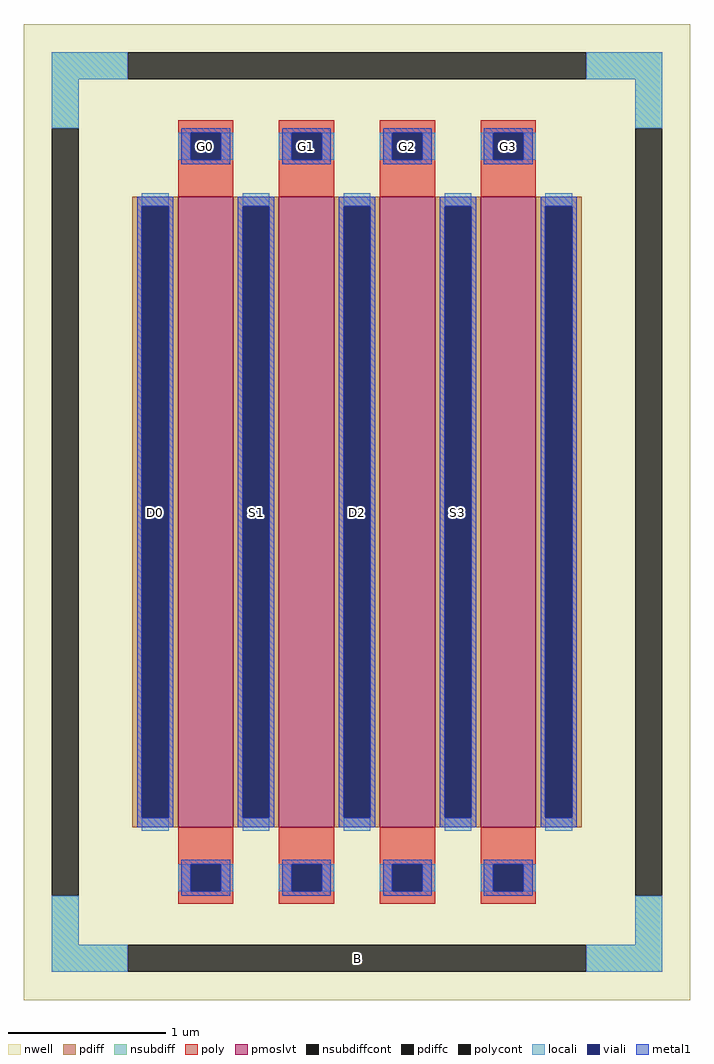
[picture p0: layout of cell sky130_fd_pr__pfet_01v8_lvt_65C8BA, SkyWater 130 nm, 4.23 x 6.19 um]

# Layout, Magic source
magic
tech sky130A
magscale 1 2
<< nwell >>
rect -423 -619 423 619
<< pmoslvt >>
rect -227 -400 -157 400
rect -99 -400 -29 400
rect 29 -400 99 400
rect 157 -400 227 400
<< pdiff >>
rect -285 388 -227 400
rect -285 -388 -273 388
rect -239 -388 -227 388
rect -285 -400 -227 -388
rect -157 388 -99 400
rect -157 -388 -145 388
rect -111 -388 -99 388
rect -157 -400 -99 -388
rect -29 388 29 400
rect -29 -388 -17 388
rect 17 -388 29 388
rect -29 -400 29 -388
rect 99 388 157 400
rect 99 -388 111 388
rect 145 -388 157 388
rect 99 -400 157 -388
rect 227 388 285 400
rect 227 -388 239 388
rect 273 -388 285 388
rect 227 -400 285 -388
<< pdiffc >>
rect -273 -388 -239 388
rect -145 -388 -111 388
rect -17 -388 17 388
rect 111 -388 145 388
rect 239 -388 273 388
<< nsubdiff >>
rect -387 549 -291 583
rect 291 549 387 583
rect -387 487 -353 549
rect 353 487 387 549
rect -387 -549 -353 -487
rect 353 -549 387 -487
rect -387 -583 -291 -549
rect 291 -583 387 -549
<< nsubdiffcont >>
rect -291 549 291 583
rect -387 -487 -353 487
rect 353 -487 387 487
rect -291 -583 291 -549
<< poly >>
rect -227 481 -157 497
rect -227 447 -211 481
rect -173 447 -157 481
rect -227 400 -157 447
rect -99 481 -29 497
rect -99 447 -83 481
rect -45 447 -29 481
rect -99 400 -29 447
rect 29 481 99 497
rect 29 447 45 481
rect 83 447 99 481
rect 29 400 99 447
rect 157 481 227 497
rect 157 447 173 481
rect 211 447 227 481
rect 157 400 227 447
rect -227 -447 -157 -400
rect -227 -481 -211 -447
rect -173 -481 -157 -447
rect -227 -497 -157 -481
rect -99 -447 -29 -400
rect -99 -481 -83 -447
rect -45 -481 -29 -447
rect -99 -497 -29 -481
rect 29 -447 99 -400
rect 29 -481 45 -447
rect 83 -481 99 -447
rect 29 -497 99 -481
rect 157 -447 227 -400
rect 157 -481 173 -447
rect 211 -481 227 -447
rect 157 -497 227 -481
<< polycont >>
rect -211 447 -173 481
rect -83 447 -45 481
rect 45 447 83 481
rect 173 447 211 481
rect -211 -481 -173 -447
rect -83 -481 -45 -447
rect 45 -481 83 -447
rect 173 -481 211 -447
<< locali >>
rect -387 549 -291 583
rect 291 549 387 583
rect -387 487 -353 549
rect 353 487 387 549
rect -227 447 -211 481
rect -173 447 -157 481
rect -99 447 -83 481
rect -45 447 -29 481
rect 29 447 45 481
rect 83 447 99 481
rect 157 447 173 481
rect 211 447 227 481
rect -273 388 -239 404
rect -273 -404 -239 -388
rect -145 388 -111 404
rect -145 -404 -111 -388
rect -17 388 17 404
rect -17 -404 17 -388
rect 111 388 145 404
rect 111 -404 145 -388
rect 239 388 273 404
rect 239 -404 273 -388
rect -227 -481 -211 -447
rect -173 -481 -157 -447
rect -99 -481 -83 -447
rect -45 -481 -29 -447
rect 29 -481 45 -447
rect 83 -481 99 -447
rect 157 -481 173 -447
rect 211 -481 227 -447
rect -387 -549 -353 -487
rect 353 -549 387 -487
rect -387 -583 -291 -549
rect 291 -583 387 -549
<< viali >>
rect -211 447 -173 481
rect -83 447 -45 481
rect 45 447 83 481
rect 173 447 211 481
rect -273 -388 -239 388
rect -145 -388 -111 388
rect -17 -388 17 388
rect 111 -388 145 388
rect 239 -388 273 388
rect -211 -481 -173 -447
rect -83 -481 -45 -447
rect 45 -481 83 -447
rect 173 -481 211 -447
<< metal1 >>
rect -223 481 -161 487
rect -223 447 -211 481
rect -173 447 -161 481
rect -223 441 -161 447
rect -95 481 -33 487
rect -95 447 -83 481
rect -45 447 -33 481
rect -95 441 -33 447
rect 33 481 95 487
rect 33 447 45 481
rect 83 447 95 481
rect 33 441 95 447
rect 161 481 223 487
rect 161 447 173 481
rect 211 447 223 481
rect 161 441 223 447
rect -279 388 -233 400
rect -279 -388 -273 388
rect -239 -388 -233 388
rect -279 -400 -233 -388
rect -151 388 -105 400
rect -151 -388 -145 388
rect -111 -388 -105 388
rect -151 -400 -105 -388
rect -23 388 23 400
rect -23 -388 -17 388
rect 17 -388 23 388
rect -23 -400 23 -388
rect 105 388 151 400
rect 105 -388 111 388
rect 145 -388 151 388
rect 105 -400 151 -388
rect 233 388 279 400
rect 233 -388 239 388
rect 273 -388 279 388
rect 233 -400 279 -388
rect -223 -447 -161 -441
rect -223 -481 -211 -447
rect -173 -481 -161 -447
rect -223 -487 -161 -481
rect -95 -447 -33 -441
rect -95 -481 -83 -447
rect -45 -481 -33 -447
rect -95 -487 -33 -481
rect 33 -447 95 -441
rect 33 -481 45 -447
rect 83 -481 95 -447
rect 33 -487 95 -481
rect 161 -447 223 -441
rect 161 -481 173 -447
rect 211 -481 223 -447
rect 161 -487 223 -481
<< labels >>
rlabel nsubdiffcont 0 -566 0 -566 0 B
port 1 nsew
rlabel pdiffc -256 0 -256 0 0 D0
port 2 nsew
rlabel polycont -192 464 -192 464 0 G0
port 3 nsew
rlabel pdiffc -128 0 -128 0 0 S1
port 4 nsew
rlabel polycont -64 464 -64 464 0 G1
port 5 nsew
rlabel pdiffc 0 0 0 0 0 D2
port 6 nsew
rlabel polycont 64 464 64 464 0 G2
port 7 nsew
rlabel pdiffc 128 0 128 0 0 S3
port 8 nsew
rlabel polycont 192 464 192 464 0 G3
port 9 nsew
<< properties >>
string FIXED_BBOX -370 -566 370 566
string gencell sky130_fd_pr__pfet_01v8_lvt
string library sky130
string parameters w 4.0 l 0.35 m 1 nf 4 diffcov 100 polycov 100 guard 1 glc 1 grc 1 gtc 1 gbc 1 tbcov 100 rlcov 100 topc 1 botc 1 poverlap 0 doverlap 1 lmin 0.35 wmin 0.42 class mosfet compatible {sky130_fd_pr__pfet_01v8  sky130_fd_pr__pfet_01v8_lvt sky130_fd_pr__pfet_01v8_hvt  sky130_fd_pr__pfet_g5v0d10v5} full_metal 1 conn_gates 0 viasrc 100 viadrn 100 viagate 100 viagb 0 viagr 0 viagl 0 viagt 0 doports 1
<< end >>
